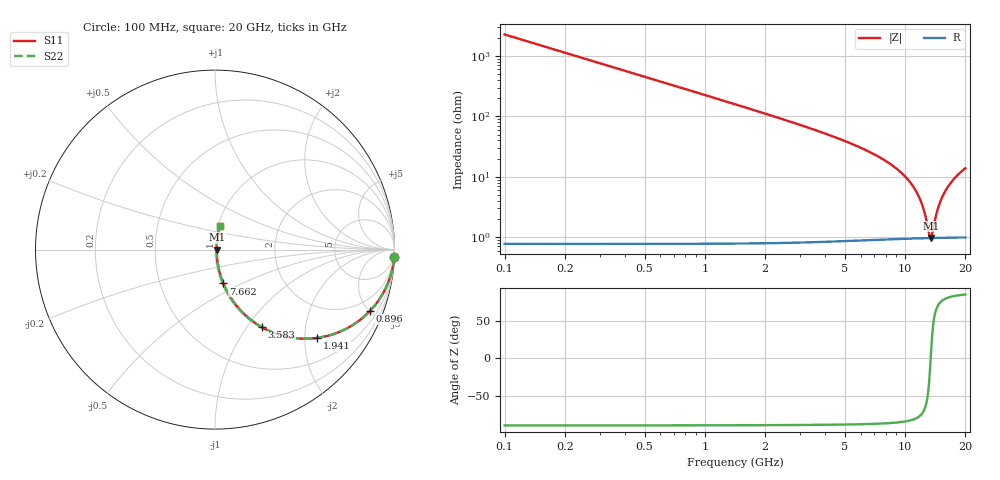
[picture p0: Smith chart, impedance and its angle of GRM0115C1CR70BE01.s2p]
!Murata Part Number: GRM0115C1CR70BE01
!These Parameters are Measured in Series Mode Connection
!Data Generated on Mar 30, 2021
!  o--ll--o
!Port1  Port2
!  o------o
!Operation Temp=25[degC], DC Bias Voltage=0[V]
!Freq. Start=100[MHz] Stop=20[GHz] 401[Steps]
# Hz S RI R 50
!Freq.(Hz) S11(Real) S11(Imag) S21(Real) S21(Imag) S12(Real) S12(Imag) S22(Real) S22(Imag)
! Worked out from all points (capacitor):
!   401 points, 100 MHz to 20 GHz, reference 50 ohm
!   read as one part in series: C = 700 fF near 199.5 MHz
!   lowest |Z| = 966 mohm at 13.43 GHz (marker M1)
!   series resonance near 13.41 GHz, so ESL is about 200 pH
!   S11 on the Smith chart (normalised r, x): 100 MHz: 1, -45; 896 MHz: 1.02, -5.05; 1.941 GHz: 1.02, -2.29; 3.583 GHz: 1.02, -1.18; 7.662 GHz: 1.02, -0.40; 20 GHz: 1.02, +0.28
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1e8  0.9981 -0.0439  0.00195 0.0439  0.00195 0.0439  0.9981 -0.0439
2.99e8  0.9829 -0.1293  0.0171 0.1293  0.0171 0.1293  0.9829 -0.1293
3.985e8  0.9699 -0.1701  0.0301 0.1701  0.0301 0.1701  0.9699 -0.1701
5.975e8  0.9347 -0.246  0.0653 0.246  0.0653 0.246  0.9347 -0.246
8.96e8  0.8637 -0.3415  0.1363 0.3415  0.1363 0.3415  0.8637 -0.3415
1.34375e9  0.7362 -0.4384  0.2638 0.4384  0.2638 0.4384  0.7362 -0.4384
1.94075e9  0.5675 -0.492  0.4325 0.492  0.4325 0.492  0.5675 -0.492
3.43325e9  0.2791 -0.442  0.7209 0.442  0.7209 0.442  0.2791 -0.442
3.5825e9  0.2603 -0.4318  0.7397 0.4318  0.7397 0.4318  0.2603 -0.4318
4.92575e9  0.1424 -0.3389  0.8576 0.3389  0.8576 0.3389  0.1424 -0.3389
6.7665e9  0.0661 -0.2312  0.9339 0.2312  0.9339 0.2312  0.0661 -0.2312
7.662e9  0.0462 -0.1883  0.9538 0.1883  0.9538 0.1883  0.0462 -0.1883
1.005e10  0.0187 -0.0961  0.9813 0.0961  0.9813 0.0961  0.0187 -0.0961
1.19405e10  0.011 -0.0385  0.989 0.0385  0.989 0.0385  0.011 -0.0385
1.248775e10  0.0101 -0.0237  0.9899 0.0237  0.9899 0.0237  0.0101 -0.0237
1.338325e10  0.00956 -0.000734  0.9904 0.000734  0.9904 0.000734  0.00956 -0.000734
1.3433e10  0.00956 0.000495  0.9904 -0.000495  0.9904 -0.000495  0.00956 0.000495
1.427875e10  0.01 0.0207  0.99 -0.0207  0.99 -0.0207  0.01 0.0207
1.4826e10  0.0107 0.0332  0.9893 -0.0332  0.9893 -0.0332  0.0107 0.0332
1.567175e10  0.0124 0.0516  0.9876 -0.0516  0.9876 -0.0516  0.0124 0.0516
1.67165e10  0.0151 0.073  0.9849 -0.073  0.9849 -0.073  0.0151 0.073
2e10  0.028 0.1332  0.972 -0.1332  0.972 -0.1332  0.028 0.1332
